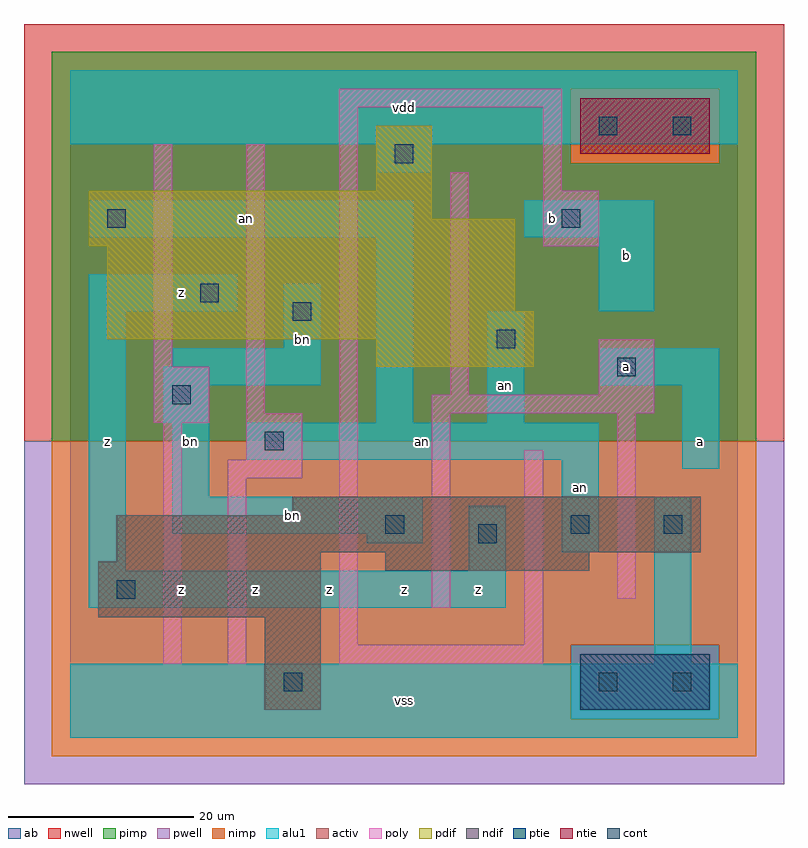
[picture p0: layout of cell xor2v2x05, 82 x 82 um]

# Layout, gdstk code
import gdstk
lib = gdstk.Library(unit=1e-6, precision=1e-09)
def R(c, l, rs):  # rectangles x0, y0, x1, y1
    for r in rs: c.add(gdstk.rectangle(r[:2], r[2:], *l))
ndif = (3, 0)
pdif = (4, 0)
ntie = (5, 0)
ptie = (6, 0)
cont = (25, 0)
pwell = (41, 0)
nwell = (42, 0)
activ = (43, 0)
pimp = (44, 0)
nimp = (45, 0)
poly = (46, 0)
alu1 = (49, 0)
ab = (63, 0)

xor2v2x05 = lib.new_cell('xor2v2x05')
R(xor2v2x05, ndif, [(21,3,27,13), (3,13,27,19), (34,18,56,20), (5,19,27,20), (5,20,68,24), (24,24,68,26)])
R(xor2v2x05, pdif, [(33,40,50,43), (4,43,50,46), (4,46,48,53), (2,53,48,56), (2,56,39,59), (33,59,39,66)])
R(xor2v2x05, ntie, [(55,63,69,69)])
R(xor2v2x05, ptie, [(55,3,69,9)])
R(xor2v2x05, cont, [(23,5,25,7), (57,5,59,7), (65,5,67,7), (5,15,7,17), (44,21,46,23), (34,22,36,24), (54,22,56,24), (64,22,66,24), (21,31,23,33), (11,36,13,38), (59,39,61,41), (46,42,48,44), (24,45,26,47), (14,47,16,49), (4,55,6,57), (53,55,55,57), (35,62,37,64), (57,65,59,67), (65,65,67,67)])
R(xor2v2x05, pwell, [(-5,-5,77,32)])
R(xor2v2x05, nwell, [(-5,32,77,77)])
R(xor2v2x05, activ, [(21,3,27,13), (55,3,69,9), (3,13,27,19), (34,18,56,20), (5,19,27,20), (5,20,68,24), (24,24,68,26), (33,40,50,43), (4,43,50,46), (4,46,48,53), (2,53,48,56), (2,56,39,59), (33,59,39,66), (55,63,69,69)])
R(xor2v2x05, pimp, [(54,2,70,10), (-2,32,74,62), (-2,62,54,70), (70,62,74,70), (-2,70,74,74)])
R(xor2v2x05, nimp, [(-2,-2,74,2), (-2,2,54,10), (70,2,74,10), (-2,10,74,32), (54,62,70,70)])
R(xor2v2x05, poly, [(10,8,12,34), (17,8,19,28), (29,8,51,10), (29,10,31,68), (49,10,51,31), (39,14,41,35), (59,15,61,35), (17,28,25,30), (19,30,25,35), (9,34,15,40), (19,35,21,64), (39,35,63,37), (41,37,43,61), (57,37,63,43), (9,40,11,64), (51,53,57,59), (51,59,53,68), (29,68,53,70)])
R(xor2v2x05, alu1, [(0,0,72,8), (63,8,67,26), (2,14,47,18), (2,18,6,46), (43,18,47,25), (53,20,57,30), (32,21,38,22), (11,22,38,26), (11,26,15,34), (66,29,70,38), (19,30,57,34), (10,34,15,38), (33,34,37,54), (45,34,49,46), (10,38,27,40), (57,38,70,42), (11,40,27,42), (23,42,27,49), (2,46,18,50), (57,46,63,54), (2,54,37,58), (49,54,63,58), (33,61,39,64), (0,64,72,72)])
R(xor2v2x05, ab, [(0,0,72,72)])
xor2v2x05.add(gdstk.Label('bn', (13,32), layer=49, texttype=0))
xor2v2x05.add(gdstk.Label('bn', (25,43), layer=49, texttype=0))
xor2v2x05.add(gdstk.Label('bn', (24,24), layer=49, texttype=0))
xor2v2x05.add(gdstk.Label('an', (47,38), layer=49, texttype=0))
xor2v2x05.add(gdstk.Label('an', (19,56), layer=49, texttype=0))
xor2v2x05.add(gdstk.Label('an', (55,27), layer=49, texttype=0))
xor2v2x05.add(gdstk.Label('an', (38,32), layer=49, texttype=0))
xor2v2x05.add(gdstk.Label('z', (12,16), layer=49, texttype=0))
xor2v2x05.add(gdstk.Label('z', (4,32), layer=49, texttype=0))
xor2v2x05.add(gdstk.Label('z', (12,48), layer=49, texttype=0))
xor2v2x05.add(gdstk.Label('z', (28,16), layer=49, texttype=0))
xor2v2x05.add(gdstk.Label('z', (20,16), layer=49, texttype=0))
xor2v2x05.add(gdstk.Label('vss', (36,4), layer=49, texttype=0))
xor2v2x05.add(gdstk.Label('z', (44,16), layer=49, texttype=0))
xor2v2x05.add(gdstk.Label('z', (36,16), layer=49, texttype=0))
xor2v2x05.add(gdstk.Label('b', (52,56), layer=49, texttype=0))
xor2v2x05.add(gdstk.Label('vdd', (36,68), layer=49, texttype=0))
xor2v2x05.add(gdstk.Label('a', (68,32), layer=49, texttype=0))
xor2v2x05.add(gdstk.Label('a', (60,40), layer=49, texttype=0))
xor2v2x05.add(gdstk.Label('b', (60,52), layer=49, texttype=0))

lib.write_gds('xor2v2x05.gds')
